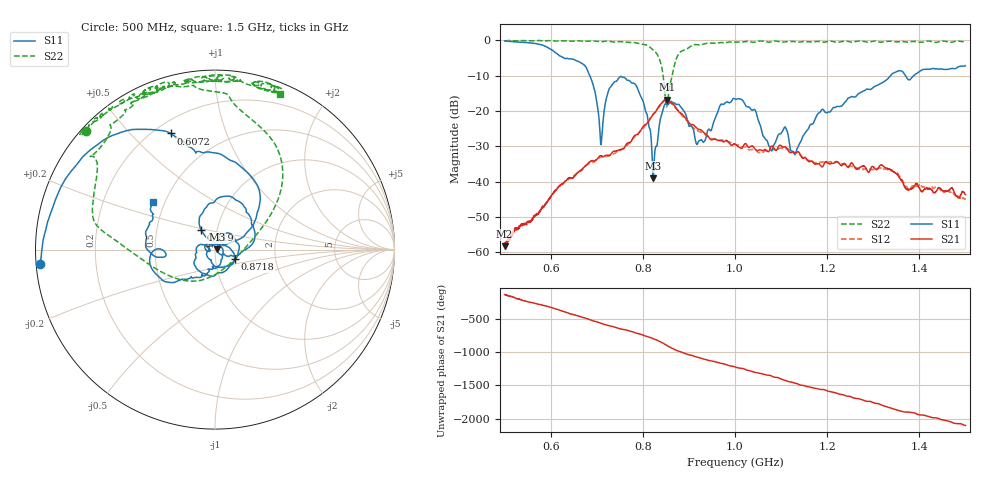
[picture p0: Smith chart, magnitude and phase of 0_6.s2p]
!Agilent Technologies,E8364B,US42250235,A.06.04.32
!Agilent E8364B: A.06.04.32
!Date: Thursday, October 01, 2020 13:17:24
!Correction: S11(Full 2 Port(1,2)) S21(Full 2 Port(1,2)) S12(Full 2 Port(1,2)) S22(Full 2 Port(1,2))
!S2P File: Measurements: S11, S21, S12, S22:
# Hz S  dB  R 50
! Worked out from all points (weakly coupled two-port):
!   2650 points, 500 MHz to 1.5 GHz, reference 50 ohm
!   highest |S21| = -16.86 dB at 852.6 MHz (marker M1); lowest = -58.3 dB at 500 MHz (marker M2)
!   lowest |S11| = -39.1 dB at 822.4 MHz (marker M3), VSWR 1.02, Z = 51.1 + j0.0939 ohm
!   |S11| at or under -10 dB: 684.6 MHz to 1.338 GHz (653 MHz wide, 64.6 % of centre); 1.37 GHz to 1.388 GHz (18.4 MHz wide, 1.33 % of centre)
!   |S22| runs from -18.9 to -0.1 dB; largest |S21 - S12| = 0.018
!   S11 on the Smith chart (normalised r, x): 500 MHz: 0.01, -0.04; 607.2 MHz: 0.26, +0.66; 719 MHz: 0.84, +0.18; 871.8 MHz: 1.24, -0.14; 1.5 GHz: 0.43, +0.28
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5e8  -0.21 -175.4  -58.26 -126.5  -57.51 -130.5  -0.19 137.3
6.072103e8  -3.19 110.9  -42.92 24.8  -42.90 22.7  -0.22 129.7
6.668554e8  -6.48 69.8  -36.57 -105.5  -36.83 -111.4  -0.24 123.4
6.92148e8  -12.72 30.6  -34.12 -165.2  -34.50 -169.0  -0.21 119.2
7.08758e8  -29.47 62.6  -32.68 158.7  -33.00 153.8  -0.41 116.3
7.189505e8  -17.60 125.4  -32.61 137.9  -32.97 132.3  -0.27 111.9
7.499056e8  -10.43 80.4  -31.02 77.7  -31.08 72.5  -0.41 107.5
7.831257e8  -12.40 21.4  -26.90 15.9  -27.34 10.4  -0.70 97.5
8.061533e8  -20.19 -19.7  -23.82 -34.8  -23.98 -38.9  -1.29 85.0
8.223858e8  -39.12 4.8  -21.04 -73.3  -20.89 -80.1  -2.76 69.7
8.337108e8  -26.33 80.9  -18.90 -105.4  -19.10 -113.5  -4.63 50.1
8.525859e8  -18.12 27.5  -16.86 -177.8  -17.01 175.7  -18.27 -73.1
8.718384e8  -18.12 -25.5  -19.13 113.1  -19.35 108.1  -5.58 176.7
9.194035e8  -29.03 176.7  -25.14 4.9  -25.65 -0.2  -1.34 140.7
1.000189e9  -16.65 -106.9  -29.37 -142.1  -29.50 -148.5  -0.55 119.3
1.043224e9  -19.67 175.8  -30.73 137.5  -31.00 135.7  -0.57 111.7
1.077954e9  -31.13 -178.0  -30.13 86.9  -30.90 78.6  -0.46 106.0
1.108532e9  -24.51 159.8  -30.15 16.7  -30.64 17.7  -0.48 104.2
1.129672e9  -32.38 107.0  -31.84 -24.1  -31.86 -25.8  -0.42 104.5
1.166667e9  -23.78 -57.9  -34.15 -90.9  -34.25 -92.2  -0.46 98.7
1.333522e9  -10.58 -141.6  -36.38 -30.8  -36.75 -30.6  -0.27 83.9
1.5e9  -7.23 142.7  -43.68 55.3  -44.99 57.0  -0.54 67.3
